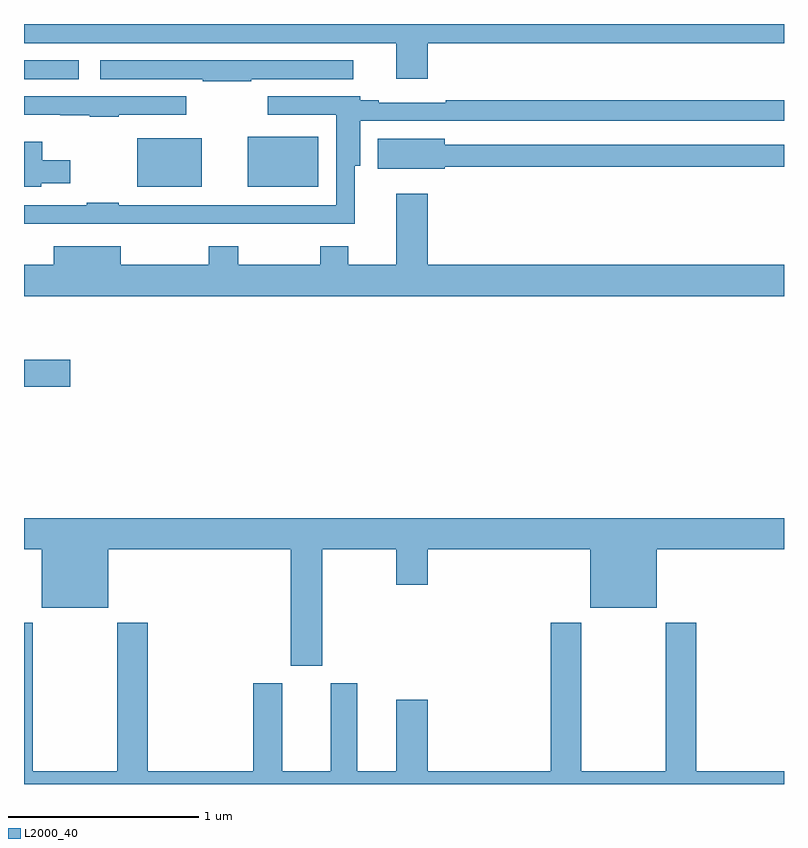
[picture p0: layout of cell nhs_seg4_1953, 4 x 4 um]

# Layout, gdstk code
import gdstk
lib = gdstk.Library(unit=1e-6, precision=1e-09)
def R(c, l, rs):  # rectangles x0, y0, x1, y1
    for r in rs: c.add(gdstk.rectangle(r[:2], r[2:], *l))
def P(c, l, *ps):  # polygons
    for p in ps: c.add(gdstk.Polygon(p, *l))
L2000_40 = (2000, 40)

nhs_seg4_1953 = lib.new_cell('nhs_seg4_1953')
R(nhs_seg4_1953, L2000_40, [(211,814.991,211.243,815.133), (211.595,816.044,211.936,816.298), (212.177,816.044,212.548,816.307), (211,816.608,211.288,816.709)])
P(nhs_seg4_1953, L2000_40, [(213.124,816.8),(215,816.8),(215,816.9),(211,816.9),(211,816.8),(212.96,816.8),(212.96,816.612),(213.124,816.612)],
  [(212.195,816.608),(212.734,816.608),(212.734,816.709),(211.401,816.709),(211.401,816.608),(211.942,816.608),(211.942,816.598),(212.195,816.598)],
  [(211.499,816.423),(211.855,816.423),(211.855,816.519),(211,816.519),(211,816.422),(211.192,816.422),(211.192,816.421),(211.346,816.421),(211.346,816.411),(211.499,816.411)],
  [(211.061,815.85),(211.606,815.85),(211.606,815.849),(211.883,815.849),(211.883,815.85),(212.215,815.85),(212.215,815.849),(212.471,815.849),(212.471,815.85),(212.742,815.85),(212.742,816.155),(212.77,816.155),(212.77,816.39),(215,816.39),(215,816.499),(213.22,816.499),(213.22,816.486),(212.866,816.486),(212.866,816.499),(212.77,816.499),(212.77,816.519),(212.283,816.519),(212.283,816.423),(212.643,816.423),(212.643,815.946),(211.499,815.946),(211.499,815.959),(211.33,815.959),(211.33,815.946),(211,815.946),(211,815.849),(211.061,815.849)],
  [(213.214,816.148),(215,816.148),(215,816.264),(213.214,816.264),(213.214,816.295),(212.862,816.295),(212.862,816.137),(213.214,816.137)],
  [(211.092,816.062),(211.243,816.062),(211.243,816.184),(211.096,816.184),(211.096,816.28),(211,816.28),(211,816.044),(211.092,816.044)],
  [(215,815.632),(213.124,815.632),(213.124,816.007),(212.96,816.007),(212.96,815.632),(212.707,815.632),(212.707,815.731),(212.56,815.731),(212.56,815.632),(212.127,815.632),(212.127,815.731),(211.972,815.731),(211.972,815.632),(211.51,815.632),(211.51,815.731),(211.157,815.731),(211.157,815.632),(211,815.632),(211,815.468),(215,815.468)],
  [(212.569,814.136),(212.96,814.136),(212.96,813.948),(213.124,813.948),(213.124,814.136),(213.98,814.136),(213.98,813.827),(214.33,813.827),(214.33,814.136),(215,814.136),(215,814.3),(211,814.3),(211,814.136),(211.094,814.136),(211.094,813.827),(211.444,813.827),(211.444,814.136),(212.405,814.136),(212.405,813.522),(212.569,813.522)],
  [(215,812.968),(214.538,812.968),(214.538,813.748),(214.378,813.748),(214.378,812.968),(213.933,812.968),(213.933,813.748),(213.773,813.748),(213.773,812.968),(213.124,812.968),(213.124,813.343),(212.96,813.343),(212.96,812.968),(212.755,812.968),(212.755,813.43),(212.615,813.43),(212.615,812.968),(212.359,812.968),(212.359,813.43),(212.207,813.43),(212.207,812.968),(211.652,812.968),(211.652,813.748),(211.492,813.748),(211.492,812.968),(211.047,812.968),(211.047,813.748),(211,813.748),(211,812.9),(215,812.9)])

lib.write_gds('nhs_seg4_1953.gds')
